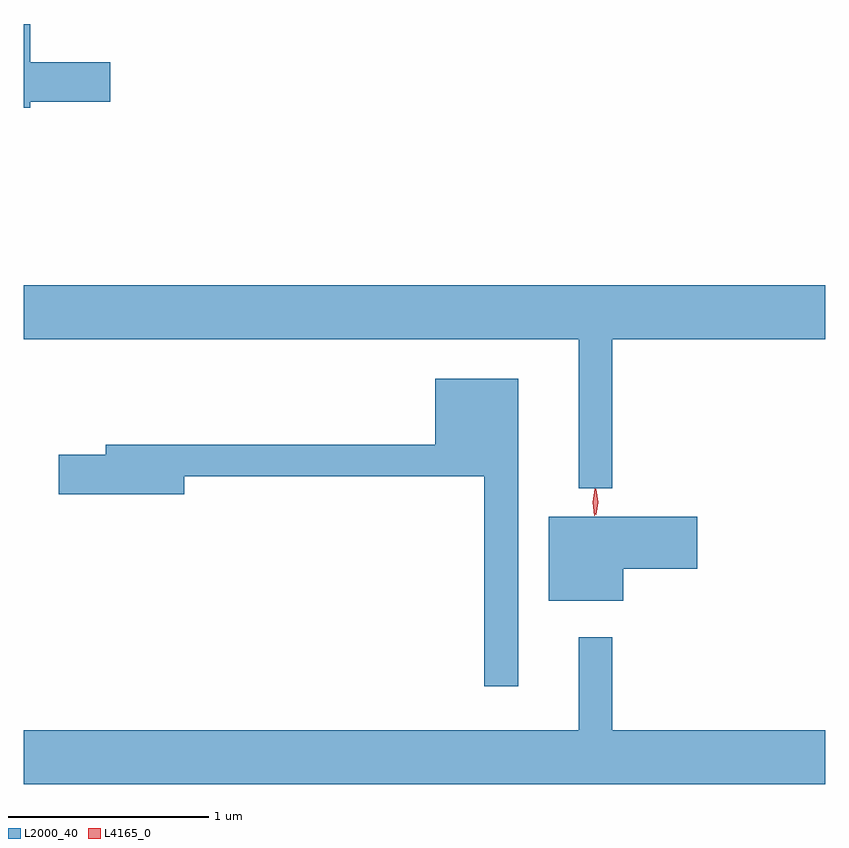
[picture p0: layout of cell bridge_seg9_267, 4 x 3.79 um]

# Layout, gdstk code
import gdstk
lib = gdstk.Library(unit=1e-6, precision=1e-09)
def P(c, l, *ps):  # polygons
    for p in ps: c.add(gdstk.Polygon(p, *l))
L2000_40 = (2000, 40)
L4165_0 = (4165, 0)

bridge_seg9_267 = lib.new_cell('bridge_seg9_267')
P(bridge_seg9_267, L2000_40, [(1002.854,2061.821),(1003.254,2061.821),(1003.254,2062.019),(1002.854,2062.019),(1002.854,2062.209),(1002.822,2062.209),(1002.822,2061.791),(1002.854,2061.791)],
  [(1005.759,2060.636),(1006.822,2060.636),(1006.822,2060.904),(1002.822,2060.904),(1002.822,2060.636),(1005.591,2060.636),(1005.591,2059.893),(1005.759,2059.893)],
  [(1005.289,2060.439),(1004.876,2060.439),(1004.876,2060.109),(1003.231,2060.109),(1003.231,2060.059),(1002.996,2060.059),(1002.996,2059.861),(1003.624,2059.861),(1003.624,2059.951),(1005.121,2059.951),(1005.121,2058.903),(1005.289,2058.903)],
  [(1005.814,2059.491),(1006.184,2059.491),(1006.184,2059.749),(1005.441,2059.749),(1005.441,2059.331),(1005.814,2059.331)],
  [(1006.822,2058.684),(1005.759,2058.684),(1005.759,2059.148),(1005.591,2059.148),(1005.591,2058.684),(1002.822,2058.684),(1002.822,2058.416),(1006.822,2058.416)])
P(bridge_seg9_267, L4165_0, [(1005.67,2059.754),(1005.662,2059.822),(1005.672,2059.89),(1005.672,2059.89),(1005.673,2059.89),(1005.682,2059.822),(1005.671,2059.754),(1005.671,2059.754)],
  [(1005.677,2059.76),(1005.668,2059.823),(1005.677,2059.886),(1005.678,2059.887),(1005.678,2059.886),(1005.688,2059.823),(1005.678,2059.76),(1005.678,2059.76)])

lib.write_gds('bridge_seg9_267.gds')
